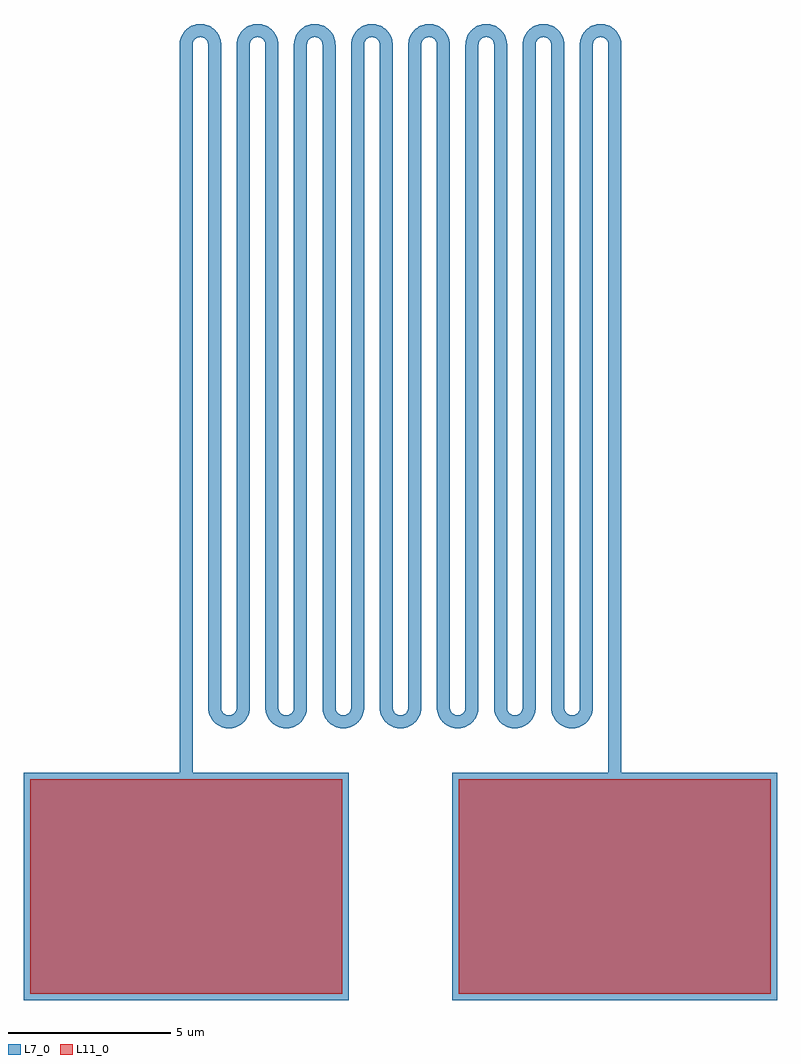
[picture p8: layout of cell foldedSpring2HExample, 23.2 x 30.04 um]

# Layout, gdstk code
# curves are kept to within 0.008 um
import gdstk
lib = gdstk.Library(unit=1e-6, precision=1e-09)
def R(c, l, rs):  # rectangles x0, y0, x1, y1
    for r in rs: c.add(gdstk.rectangle(r[:2], r[2:], *l))
def P(c, l, *ps):  # polygons
    for p in ps: c.add(gdstk.Polygon(p, *l))
L7_0 = (7, 0)
L11_0 = (11, 0)

foldedspring2hexample = lib.new_cell('foldedSpring2HExample')
P(foldedspring2hexample, L7_0, [(0,0),(0,7),(4.8,7),(4.8,15.02),(5.2,15.02),(5.2,7),(10,7),(10,0)],
  [(6.32,8.36),(6.195,8.372),(6.104,8.397),(5.991,8.451),(5.89,8.526),(5.806,8.619),(5.741,8.726),(5.699,8.844),(5.683,8.937),(5.68,15.02),(6.08,15.02),(6.08,8.988),(6.098,8.908),(6.15,8.83),(6.228,8.778),(6.308,8.76),(6.412,8.778),(6.49,8.83),(6.542,8.908),(6.56,8.988),(6.56,15.02),(6.96,15.02),(6.957,8.937),(6.941,8.844),(6.899,8.726),(6.834,8.619),(6.75,8.526),(6.649,8.451),(6.536,8.397),(6.445,8.372)],
  [(8.08,8.36),(7.955,8.372),(7.864,8.397),(7.751,8.451),(7.65,8.526),(7.566,8.619),(7.501,8.726),(7.459,8.844),(7.443,8.937),(7.44,15.02),(7.84,15.02),(7.84,8.988),(7.858,8.908),(7.91,8.83),(7.988,8.778),(8.068,8.76),(8.172,8.778),(8.25,8.83),(8.302,8.908),(8.32,8.988),(8.32,15.02),(8.72,15.02),(8.717,8.937),(8.701,8.844),(8.659,8.726),(8.594,8.619),(8.51,8.526),(8.409,8.451),(8.296,8.397),(8.205,8.372)],
  [(9.84,8.36),(9.715,8.372),(9.624,8.397),(9.511,8.451),(9.41,8.526),(9.326,8.619),(9.261,8.726),(9.219,8.844),(9.203,8.937),(9.2,15.02),(9.6,15.02),(9.6,8.988),(9.618,8.908),(9.67,8.83),(9.748,8.778),(9.828,8.76),(9.932,8.778),(10.01,8.83),(10.062,8.908),(10.08,8.988),(10.08,15.02),(10.48,15.02),(10.477,8.937),(10.461,8.844),(10.419,8.726),(10.354,8.619),(10.27,8.526),(10.169,8.451),(10.056,8.397),(9.965,8.372)],
  [(11.6,8.36),(11.475,8.372),(11.384,8.397),(11.271,8.451),(11.17,8.526),(11.086,8.619),(11.021,8.726),(10.979,8.844),(10.963,8.937),(10.96,15.02),(11.36,15.02),(11.36,8.988),(11.378,8.908),(11.43,8.83),(11.508,8.778),(11.6,8.76)],
  [(11.6,8.36),(11.6,8.76),(11.692,8.778),(11.77,8.83),(11.822,8.908),(11.84,8.988),(11.84,15.02),(12.24,15.02),(12.237,8.937),(12.221,8.844),(12.179,8.726),(12.114,8.619),(12.03,8.526),(11.929,8.451),(11.816,8.397),(11.725,8.372)],
  [(13.36,8.36),(13.235,8.372),(13.144,8.397),(13.031,8.451),(12.93,8.526),(12.846,8.619),(12.781,8.726),(12.739,8.844),(12.723,8.937),(12.72,15.02),(13.12,15.02),(13.12,8.988),(13.138,8.908),(13.19,8.83),(13.268,8.778),(13.348,8.76),(13.452,8.778),(13.53,8.83),(13.582,8.908),(13.6,8.988),(13.6,15.02),(14,15.02),(13.997,8.937),(13.981,8.844),(13.939,8.726),(13.874,8.619),(13.79,8.526),(13.689,8.451),(13.576,8.397),(13.485,8.372)],
  [(15.12,8.36),(14.995,8.372),(14.904,8.397),(14.791,8.451),(14.69,8.526),(14.606,8.619),(14.541,8.726),(14.499,8.844),(14.483,8.937),(14.48,15.02),(14.88,15.02),(14.88,8.988),(14.898,8.908),(14.95,8.83),(15.028,8.778),(15.108,8.76),(15.212,8.778),(15.29,8.83),(15.342,8.908),(15.36,8.988),(15.36,15.02),(15.76,15.02),(15.757,8.937),(15.741,8.844),(15.699,8.726),(15.634,8.619),(15.55,8.526),(15.449,8.451),(15.336,8.397),(15.245,8.372)],
  [(16.88,8.36),(16.755,8.372),(16.664,8.397),(16.551,8.451),(16.45,8.526),(16.366,8.619),(16.301,8.726),(16.259,8.844),(16.243,8.937),(16.24,15.02),(16.64,15.02),(16.64,8.988),(16.658,8.908),(16.71,8.83),(16.788,8.778),(16.868,8.76),(16.972,8.778),(17.05,8.83),(17.102,8.908),(17.12,8.988),(17.12,15.02),(17.52,15.02),(17.517,8.937),(17.501,8.844),(17.459,8.726),(17.394,8.619),(17.31,8.526),(17.209,8.451),(17.096,8.397),(17.005,8.372)],
  [(13.2,0),(13.2,7),(18,7),(18,15.02),(18.4,15.02),(18.4,7),(23.2,7),(23.2,0)],
  [(4.8,15.02),(4.801,29.431),(4.819,29.556),(4.861,29.674),(4.926,29.781),(5.01,29.874),(5.111,29.949),(5.224,30.003),(5.346,30.033),(5.471,30.039),(5.596,30.021),(5.714,29.979),(5.796,29.932),(5.893,29.853),(5.972,29.756),(6.019,29.674),(6.061,29.556),(6.079,29.431),(6.08,15.02),(5.68,15.02),(5.68,29.412),(5.662,29.492),(5.61,29.57),(5.532,29.622),(5.452,29.64),(5.348,29.622),(5.27,29.57),(5.218,29.492),(5.2,29.412),(5.2,15.02)],
  [(6.56,15.02),(6.561,29.431),(6.579,29.556),(6.621,29.674),(6.686,29.781),(6.77,29.874),(6.871,29.949),(6.984,30.003),(7.106,30.033),(7.231,30.039),(7.356,30.021),(7.474,29.979),(7.556,29.932),(7.653,29.853),(7.732,29.756),(7.779,29.674),(7.821,29.556),(7.839,29.431),(7.84,15.02),(7.44,15.02),(7.44,29.412),(7.422,29.492),(7.37,29.57),(7.292,29.622),(7.212,29.64),(7.108,29.622),(7.03,29.57),(6.978,29.492),(6.96,29.412),(6.96,15.02)],
  [(8.32,15.02),(8.321,29.431),(8.339,29.556),(8.381,29.674),(8.446,29.781),(8.53,29.874),(8.631,29.949),(8.744,30.003),(8.866,30.033),(8.991,30.039),(9.116,30.021),(9.234,29.979),(9.316,29.932),(9.413,29.853),(9.492,29.756),(9.539,29.674),(9.581,29.556),(9.599,29.431),(9.6,15.02),(9.2,15.02),(9.2,29.412),(9.182,29.492),(9.13,29.57),(9.052,29.622),(8.972,29.64),(8.868,29.622),(8.79,29.57),(8.738,29.492),(8.72,29.412),(8.72,15.02)],
  [(10.08,15.02),(10.081,29.431),(10.099,29.556),(10.141,29.674),(10.206,29.781),(10.29,29.874),(10.391,29.949),(10.504,30.003),(10.626,30.033),(10.751,30.039),(10.876,30.021),(10.994,29.979),(11.076,29.932),(11.173,29.853),(11.252,29.756),(11.299,29.674),(11.341,29.556),(11.359,29.431),(11.36,15.02),(10.96,15.02),(10.96,29.412),(10.942,29.492),(10.89,29.57),(10.812,29.622),(10.732,29.64),(10.628,29.622),(10.55,29.57),(10.498,29.492),(10.48,29.412),(10.48,15.02)],
  [(11.84,15.02),(11.841,29.431),(11.859,29.556),(11.901,29.674),(11.966,29.781),(12.05,29.874),(12.151,29.949),(12.264,30.003),(12.386,30.033),(12.511,30.039),(12.636,30.021),(12.754,29.979),(12.836,29.932),(12.933,29.853),(13.012,29.756),(13.059,29.674),(13.101,29.556),(13.119,29.431),(13.12,15.02),(12.72,15.02),(12.72,29.412),(12.702,29.492),(12.65,29.57),(12.572,29.622),(12.492,29.64),(12.388,29.622),(12.31,29.57),(12.258,29.492),(12.24,29.412),(12.24,15.02)],
  [(13.6,15.02),(13.601,29.431),(13.619,29.556),(13.661,29.674),(13.726,29.781),(13.81,29.874),(13.911,29.949),(14.024,30.003),(14.146,30.033),(14.271,30.039),(14.396,30.021),(14.514,29.979),(14.596,29.932),(14.693,29.853),(14.772,29.756),(14.819,29.674),(14.861,29.556),(14.879,29.431),(14.88,15.02),(14.48,15.02),(14.48,29.412),(14.462,29.492),(14.41,29.57),(14.332,29.622),(14.252,29.64),(14.148,29.622),(14.07,29.57),(14.018,29.492),(14,29.412),(14,15.02)],
  [(15.36,15.02),(15.361,29.431),(15.379,29.556),(15.421,29.674),(15.486,29.781),(15.57,29.874),(15.671,29.949),(15.784,30.003),(15.906,30.033),(16.031,30.039),(16.156,30.021),(16.274,29.979),(16.356,29.932),(16.453,29.853),(16.532,29.756),(16.579,29.674),(16.621,29.556),(16.639,29.431),(16.64,15.02),(16.24,15.02),(16.24,29.412),(16.222,29.492),(16.17,29.57),(16.092,29.622),(16.012,29.64),(15.908,29.622),(15.83,29.57),(15.778,29.492),(15.76,29.412),(15.76,15.02)],
  [(17.12,15.02),(17.121,29.431),(17.139,29.556),(17.181,29.674),(17.246,29.781),(17.33,29.874),(17.431,29.949),(17.544,30.003),(17.666,30.033),(17.791,30.039),(17.916,30.021),(18.034,29.979),(18.116,29.932),(18.213,29.853),(18.292,29.756),(18.339,29.674),(18.381,29.556),(18.399,29.431),(18.4,15.02),(18,15.02),(18,29.412),(17.982,29.492),(17.93,29.57),(17.852,29.622),(17.772,29.64),(17.668,29.622),(17.59,29.57),(17.538,29.492),(17.52,29.412),(17.52,15.02)])
R(foldedspring2hexample, L11_0, [(0.2,0.2,9.8,6.8), (13.4,0.2,23,6.8)])

lib.write_gds('foldedSpring2HExample.gds')
